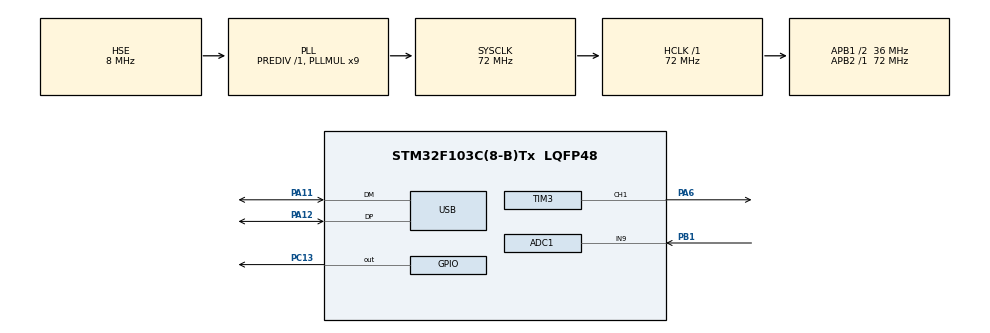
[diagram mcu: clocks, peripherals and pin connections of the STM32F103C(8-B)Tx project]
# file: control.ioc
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ADC1.Channel-1\#ChannelRegularConversion=ADC_CHANNEL_9
ADC1.ContinuousConvMode=ENABLE
ADC1.NbrOfConversionFlag=1
ADC1.Rank-1\#ChannelRegularConversion=1
ADC1.SamplingTime-1\#ChannelRegularConversion=ADC_SAMPLETIME_1CYCLE_5
ADC1.master=1
Dma.ADC1.0.Direction=DMA_PERIPH_TO_MEMORY
Dma.ADC1.0.Instance=DMA1_Channel1
Dma.ADC1.0.MemDataAlignment=DMA_MDATAALIGN_HALFWORD
Dma.ADC1.0.MemInc=DMA_MINC_ENABLE
Dma.ADC1.0.Mode=DMA_CIRCULAR
Dma.ADC1.0.PeriphDataAlignment=DMA_PDATAALIGN_HALFWORD
Dma.ADC1.0.PeriphInc=DMA_PINC_DISABLE
Dma.ADC1.0.Priority=DMA_PRIORITY_LOW
Dma.Request0=ADC1
Mcu.Family=STM32F1
Mcu.Name=STM32F103C(8-B)Tx
Mcu.Package=LQFP48
NVIC.DMA1_Channel1_IRQn=true\:0\:0\:false\:false\:true\:false\:true
NVIC.PriorityGroup=NVIC_PRIORITYGROUP_4
NVIC.TIM2_IRQn=true\:0\:0\:false\:false\:true\:true\:true
NVIC.USB_LP_CAN1_RX0_IRQn=true\:0\:0\:false\:false\:true\:false\:true
PA11.Mode=Device
PA11.Signal=USB_DM
PA12.Mode=Device
PA12.Signal=USB_DP
PA13.Mode=Serial_Wire
PA13.Signal=SYS_JTMS-SWDIO
PA14.Mode=Serial_Wire
PA14.Signal=SYS_JTCK-SWCLK
PA6.Signal=S_TIM3_CH1
PB1.Signal=ADCx_IN9
PC13-TAMPER-RTC.Signal=GPIO_Output
PD0-OSC_IN.Mode=HSE-External-Oscillator
PD0-OSC_IN.Signal=RCC_OSC_IN
PD1-OSC_OUT.Mode=HSE-External-Oscillator
PD1-OSC_OUT.Signal=RCC_OSC_OUT
ProjectManager.HeapSize=0x200
ProjectManager.StackSize=0x400
ProjectManager.TargetToolchain=STM32CubeIDE
RCC.ADCPresc=RCC_ADCPCLK2_DIV6
RCC.AHBFreq_Value=72000000
RCC.APB1CLKDivider=RCC_HCLK_DIV2
RCC.APB1Freq_Value=36000000
RCC.APB1TimFreq_Value=72000000
RCC.APB2Freq_Value=72000000
RCC.APB2TimFreq_Value=72000000
RCC.HCLKFreq_Value=72000000
RCC.PLLMUL=RCC_PLL_MUL9
RCC.PLLSourceVirtual=RCC_PLLSOURCE_HSE
RCC.SYSCLKFreq_VALUE=72000000
RCC.SYSCLKSource=RCC_SYSCLKSOURCE_PLLCLK
RCC.USBFreq_Value=48000000
RCC.USBPrescaler=RCC_USBCLKSOURCE_PLL_DIV1_5
SH.ADCx_IN9.0=ADC1_IN9,IN9
SH.S_TIM3_CH1.0=TIM3_CH1,PWM Generation1 CH1
TIM2.Period=99
TIM2.Prescaler=7199
TIM3.Channel-PWM\ Generation1\ CH1=TIM_CHANNEL_1
TIM3.Period=359
TIM3.Prescaler=0
USB_DEVICE.CLASS_NAME_FS=CDC
USB_DEVICE.VirtualMode=Cdc
USB_DEVICE.VirtualModeFS=Cdc_FS
VP_TIM2_VS_ClockSourceINT.Mode=Internal
VP_TIM3_VS_ClockSourceINT.Mode=Internal
VP_USB_DEVICE_VS_USB_DEVICE_CDC_FS.Mode=CDC_FS
board=custom

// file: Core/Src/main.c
/* USER CODE BEGIN Header */
/**
  ******************************************************************************
  * @file           : main.c
  * @brief          : Main program body
  ******************************************************************************
  * @attention
  *
  * <h2><center>&copy; Copyright (c) 2020 STMicroelectronics.
  * All rights reserved.</center></h2>
  *
  * This software component is licensed by ST under BSD 3-Clause license,
  * the "License"; You may not use this file except in compliance with the
  * License. You may obtain a copy of the License at:
  *                        opensource.org/licenses/BSD-3-Clause
  *
  ******************************************************************************
  */
/* USER CODE END Header */

#include "main.h"
#include "usb_device.h"

/* USER CODE BEGIN Includes */
#include "usbd_cdc_if.h"
#include "control_pi.h"
#include "function_handler.h"
/* USER CODE END Includes */

/* USER CODE BEGIN PTD */
#define Scale 1.5f
/* USER CODE END PTD */

ADC_HandleTypeDef hadc1;
DMA_HandleTypeDef hdma_adc1;

TIM_HandleTypeDef htim2;
TIM_HandleTypeDef htim3;

void SystemClock_Config(void);
static void MX_GPIO_Init(void);
static void MX_DMA_Init(void);
static void MX_ADC1_Init(void);
static void MX_TIM2_Init(void);
static void MX_TIM3_Init(void);

/* USER CODE BEGIN 0 */
uint8_t start = 0;
uint32_t Feedback;
float Set_point;
float ka, kb, upper_sat, lower_sat;
/* USER CODE END 0 */

int main(void)
{

  /* MCU Configuration--------------------------------------------------------*/

  /* Reset of all peripherals, Initializes the Flash interface and the Systick. */
  HAL_Init();

  /* Configure the system clock */
  SystemClock_Config();

  /* Initialize all configured peripherals */
  MX_GPIO_Init();
  MX_DMA_Init();
  MX_ADC1_Init();
  MX_TIM2_Init();
  MX_TIM3_Init();
  MX_USB_DEVICE_Init();
  /* USER CODE BEGIN 2 */
  HAL_ADC_Start_DMA(&hadc1, &Feedback, 2);
  htim3.Instance->CCR1 = 0;
  HAL_TIM_PWM_Start(&htim3, TIM_CHANNEL_1);
  //begin_configuration(ka, kb, upper_sat, lower_sat);
  //HAL_TIM_Base_Start_IT(&htim2);
  /* USER CODE END 2 */

  /* Infinite loop */
  while (1)
  {

  }
}

void SystemClock_Config(void)
{
  RCC_OscInitTypeDef RCC_OscInitStruct = {0};
  RCC_ClkInitTypeDef RCC_ClkInitStruct = {0};
  RCC_PeriphCLKInitTypeDef PeriphClkInit = {0};

  /** Initializes the CPU, AHB and APB busses clocks
  */
  RCC_OscInitStruct.OscillatorType = RCC_OSCILLATORTYPE_HSE;
  RCC_OscInitStruct.HSEState = RCC_HSE_ON;
  RCC_OscInitStruct.HSEPredivValue = RCC_HSE_PREDIV_DIV1;
  RCC_OscInitStruct.HSIState = RCC_HSI_ON;
  RCC_OscInitStruct.PLL.PLLState = RCC_PLL_ON;
  RCC_OscInitStruct.PLL.PLLSource = RCC_PLLSOURCE_HSE;
  RCC_OscInitStruct.PLL.PLLMUL = RCC_PLL_MUL9;
  if (HAL_RCC_OscConfig(&RCC_OscInitStruct) != HAL_OK)
  {
    Error_Handler();
  }
  /** Initializes the CPU, AHB and APB busses clocks
  */
  RCC_ClkInitStruct.ClockType = RCC_CLOCKTYPE_HCLK|RCC_CLOCKTYPE_SYSCLK
                              |RCC_CLOCKTYPE_PCLK1|RCC_CLOCKTYPE_PCLK2;
  RCC_ClkInitStruct.SYSCLKSource = RCC_SYSCLKSOURCE_PLLCLK;
  RCC_ClkInitStruct.AHBCLKDivider = RCC_SYSCLK_DIV1;
  RCC_ClkInitStruct.APB1CLKDivider = RCC_HCLK_DIV2;
  RCC_ClkInitStruct.APB2CLKDivider = RCC_HCLK_DIV1;

  if (HAL_RCC_ClockConfig(&RCC_ClkInitStruct, FLASH_LATENCY_2) != HAL_OK)
  {
    Error_Handler();
  }
  PeriphClkInit.PeriphClockSelection = RCC_PERIPHCLK_ADC|RCC_PERIPHCLK_USB;
  PeriphClkInit.AdcClockSelection = RCC_ADCPCLK2_DIV6;
  PeriphClkInit.UsbClockSelection = RCC_USBCLKSOURCE_PLL_DIV1_5;
  if (HAL_RCCEx_PeriphCLKConfig(&PeriphClkInit) != HAL_OK)
  {
    Error_Handler();
  }
}

static void MX_ADC1_Init(void)
{

  ADC_ChannelConfTypeDef sConfig = {0};

  /** Common config
  */
  hadc1.Instance = ADC1;
  hadc1.Init.ScanConvMode = ADC_SCAN_DISABLE;
  hadc1.Init.ContinuousConvMode = ENABLE;
  hadc1.Init.DiscontinuousConvMode = DISABLE;
  hadc1.Init.ExternalTrigConv = ADC_SOFTWARE_START;
  hadc1.Init.DataAlign = ADC_DATAALIGN_RIGHT;
  hadc1.Init.NbrOfConversion = 1;
  if (HAL_ADC_Init(&hadc1) != HAL_OK)
  {
    Error_Handler();
  }
  /** Configure Regular Channel
  */
  sConfig.Channel = ADC_CHANNEL_9;
  sConfig.Rank = ADC_REGULAR_RANK_1;
  sConfig.SamplingTime = ADC_SAMPLETIME_1CYCLE_5;
  if (HAL_ADC_ConfigChannel(&hadc1, &sConfig) != HAL_OK)
  {
    Error_Handler();
  }

}

static void MX_TIM2_Init(void)
{

  TIM_ClockConfigTypeDef sClockSourceConfig = {0};
  TIM_MasterConfigTypeDef sMasterConfig = {0};

  htim2.Instance = TIM2;
  htim2.Init.Prescaler = 7199;
  htim2.Init.CounterMode = TIM_COUNTERMODE_UP;
  htim2.Init.Period = 99;
  htim2.Init.ClockDivision = TIM_CLOCKDIVISION_DIV1;
  htim2.Init.AutoReloadPreload = TIM_AUTORELOAD_PRELOAD_DISABLE;
  if (HAL_TIM_Base_Init(&htim2) != HAL_OK)
  {
    Error_Handler();
  }
  sClockSourceConfig.ClockSource = TIM_CLOCKSOURCE_INTERNAL;
  if (HAL_TIM_ConfigClockSource(&htim2, &sClockSourceConfig) != HAL_OK)
  {
    Error_Handler();
  }
  sMasterConfig.MasterOutputTrigger = TIM_TRGO_RESET;
  sMasterConfig.MasterSlaveMode = TIM_MASTERSLAVEMODE_DISABLE;
  if (HAL_TIMEx_MasterConfigSynchronization(&htim2, &sMasterConfig) != HAL_OK)
  {
    Error_Handler();
  }

}

static void MX_TIM3_Init(void)
{

  TIM_ClockConfigTypeDef sClockSourceConfig = {0};
  TIM_MasterConfigTypeDef sMasterConfig = {0};
  TIM_OC_InitTypeDef sConfigOC = {0};

  htim3.Instance = TIM3;
  htim3.Init.Prescaler = 0;
  htim3.Init.CounterMode = TIM_COUNTERMODE_UP;
  htim3.Init.Period = 359;
  htim3.Init.ClockDivision = TIM_CLOCKDIVISION_DIV1;
  htim3.Init.AutoReloadPreload = TIM_AUTORELOAD_PRELOAD_DISABLE;
  if (HAL_TIM_Base_Init(&htim3) != HAL_OK)
  {
    Error_Handler();
  }
  sClockSourceConfig.ClockSource = TIM_CLOCKSOURCE_INTERNAL;
  if (HAL_TIM_ConfigClockSource(&htim3, &sClockSourceConfig) != HAL_OK)
  {
    Error_Handler();
  }
  if (HAL_TIM_PWM_Init(&htim3) != HAL_OK)
  {
    Error_Handler();
  }
  sMasterConfig.MasterOutputTrigger = TIM_TRGO_RESET;
  sMasterConfig.MasterSlaveMode = TIM_MASTERSLAVEMODE_DISABLE;
  if (HAL_TIMEx_MasterConfigSynchronization(&htim3, &sMasterConfig) != HAL_OK)
  {
    Error_Handler();
  }
  sConfigOC.OCMode = TIM_OCMODE_PWM1;
  sConfigOC.Pulse = 0;
  sConfigOC.OCPolarity = TIM_OCPOLARITY_HIGH;
  sConfigOC.OCFastMode = TIM_OCFAST_DISABLE;
  if (HAL_TIM_PWM_ConfigChannel(&htim3, &sConfigOC, TIM_CHANNEL_1) != HAL_OK)
  {
    Error_Handler();
  }
  HAL_TIM_MspPostInit(&htim3);

}

static void MX_DMA_Init(void)
{

  /* DMA controller clock enable */
  __HAL_RCC_DMA1_CLK_ENABLE();

  /* DMA interrupt init */
  /* DMA1_Channel1_IRQn interrupt configuration */
  HAL_NVIC_SetPriority(DMA1_Channel1_IRQn, 0, 0);
  HAL_NVIC_EnableIRQ(DMA1_Channel1_IRQn);

}

static void MX_GPIO_Init(void)
{
  GPIO_InitTypeDef GPIO_InitStruct = {0};

  /* GPIO Ports Clock Enable */
  __HAL_RCC_GPIOC_CLK_ENABLE();
  __HAL_RCC_GPIOD_CLK_ENABLE();
  __HAL_RCC_GPIOA_CLK_ENABLE();
  __HAL_RCC_GPIOB_CLK_ENABLE();

  /*Configure GPIO pin Output Level */
  HAL_GPIO_WritePin(GPIOC, GPIO_PIN_13, GPIO_PIN_RESET);

  /*Configure GPIO pin : PC13 */
  GPIO_InitStruct.Pin = GPIO_PIN_13;
  GPIO_InitStruct.Mode = GPIO_MODE_OUTPUT_PP;
  GPIO_InitStruct.Pull = GPIO_NOPULL;
  GPIO_InitStruct.Speed = GPIO_SPEED_FREQ_LOW;
  HAL_GPIO_Init(GPIOC, &GPIO_InitStruct);

}

/* USER CODE BEGIN 4 */
void HAL_TIM_PeriodElapsedCallback(TIM_HandleTypeDef *htim)
{
	if(start == 1) {
		start = 0;
	}else{
		control_loop(Set_point, (float)(Feedback*3.3f*Scale / 1024.0f));
	}
}
void receive_callback(uint8_t *Buf, uint32_t length)
{
	HAL_GPIO_TogglePin(GPIOC, GPIO_PIN_13);
}
/* USER CODE END 4 */

void Error_Handler(void)
{
}

/************************ (C) COPYRIGHT STMicroelectronics *****END OF FILE****/
